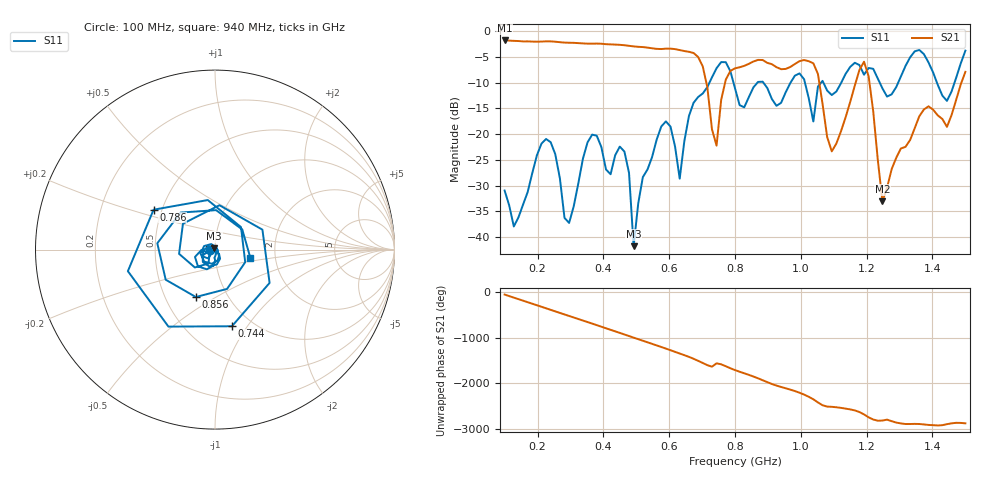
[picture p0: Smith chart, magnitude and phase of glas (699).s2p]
! NanoVNA-App
! Date: 2025-09-25 16:00:55
! Start: 100MHz Stop: 1,5GHz Points: 101
! S-Parameter data: F S11 S21 S12 S22
# Hz S RI R 50
!  Frequency  S11_Real  S11_Imag  S21_Real  S21_Imag  S12_Real  S12_Imag  S22_Real  S22_Imag
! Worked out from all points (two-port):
!   101 points, 100 MHz to 1.5 GHz, reference 50 ohm
!   highest |S21| = -1.80 dB at 100 MHz (marker M1); lowest = -33.0 dB at 1.248 GHz (marker M2)
!   |S21| within 3 dB of the highest: start of sweep to 684.2 MHz
!   lowest |S11| = -41.7 dB at 492 MHz (marker M3), VSWR 1.02, Z = 49.5 + j0.615 ohm
!   |S11| at or under -10 dB: start of sweep to 722.3 MHz; 795.4 MHz to 868 MHz (72.58 MHz wide, 8.73 % of centre); 886.3 MHz to 968.6 MHz (82.36 MHz wide, 8.88 % of centre) (the widest 3 of 7)
!   S12 and S22 are empty: the file has one direction only
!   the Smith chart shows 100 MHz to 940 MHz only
!   S11 on the Smith chart (normalised r, x): 100 MHz: 0.94, -0.01; 744 MHz: 0.81, -0.85; 786 MHz: 0.45, +0.24; 856 MHz: 0.71, -0.41; 940 MHz: 1.48, -0.14
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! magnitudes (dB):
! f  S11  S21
! 100 MHz  -30.9  -1.8
! 128 MHz  -37.9  -1.9
! 226 MHz  -20.9  -2.0
! 296 MHz  -37.2  -2.2
! 338 MHz  -24.7  -2.4
! 464 MHz  -23.4  -2.7
! 492 MHz  -41.7  -3.0
! 576 MHz  -18.5  -3.5
! 632 MHz  -28.6  -3.7
! 702 MHz  -12.1  -6.8
! 744 MHz  -7.2  -22.2
! 786 MHz  -7.8  -7.7
! 800 MHz  -11.1  -7.2
! 856 MHz  -10.9  -5.9
! 940 MHz  -13.9  -7.4
! 996 MHz  -8.2  -5.8
! 1.038 GHz  -17.5  -6.2
! 1.094 GHz  -12.4  -23.3
! 1.192 GHz  -8.4  -5.9
! 1.248 GHz  -11.1  -33.0
! 1.276 GHz  -12.3  -26.8
! 1.5 GHz  -3.8  -7.9
